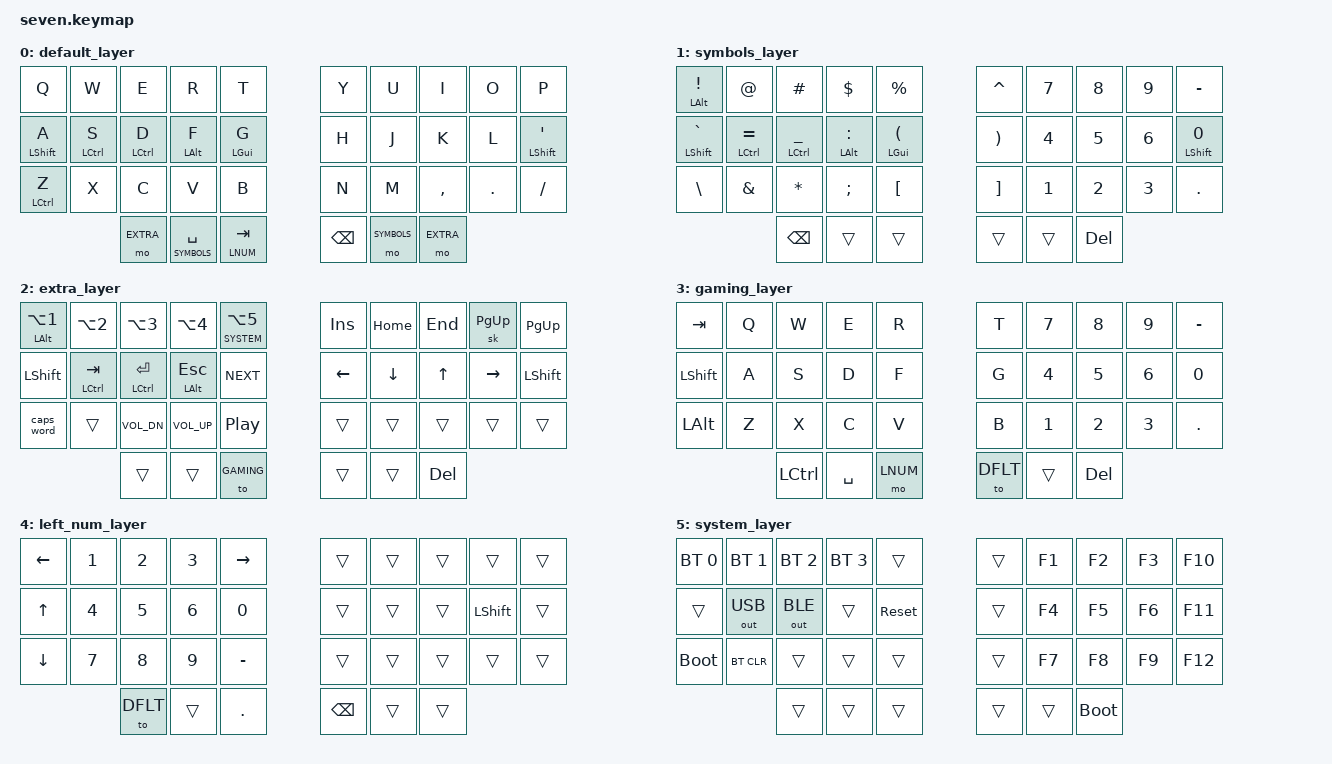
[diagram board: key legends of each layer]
/*
 * Copyright (c) 2020 The ZMK Contributors
 *
 * SPDX-License-Identifier: MIT
 */

#include <behaviors.dtsi>
#include <dt-bindings/zmk/bt.h>
#include <dt-bindings/zmk/keys.h>
#include <dt-bindings/zmk/outputs.h>


#define DFLT      0
#define SYMBOLS   1
#define EXTRA     2
#define GAMING    3
#define LNUM      4
#define SYSTEM    5


/ {
    behaviors {
        hpl: hold_preferred_layer {
            compatible = "zmk,behavior-hold-tap";
            label = "HOLD_PREFERRED_LAYER";
            #binding-cells = <2>;
            tapping-term-ms = <160>;
            flavor = "hold-preferred";
            bindings = <&mo>, <&kp>;
        };
        bpl: balanced_layer {
            compatible = "zmk,behavior-hold-tap";
            label = "BALANCED_LAYER";
            #binding-cells = <2>;
            tapping-term-ms = <130>;
            flavor = "balanced";
            bindings = <&mo>, <&kp>;
        };
        tpl: tap_preferred_layer {
            compatible = "zmk,behavior-hold-tap";
            label = "TAP_REFERRED_LAYER";
            #binding-cells = <2>;
            tapping-term-ms = <125>;
            flavor = "tap-preferred";
            bindings = <&mo>, <&kp>;
        };
        hpm: hold_preferred_modifier {
            compatible = "zmk,behavior-hold-tap";
            label = "HOLD_PREFERRED_MODIFIER";
            #binding-cells = <2>;
            tapping-term-ms = <160>;
            flavor = "hold-preferred";
            bindings = <&kp>, <&kp>;
        };
        bpm: balanced_modifier {
            compatible = "zmk,behavior-hold-tap";
            label = "BALANCED_MODIFIER";
            #binding-cells = <2>;
            tapping-term-ms = <125>;
            flavor = "balanced";
            bindings = <&kp>, <&kp>;
        };
        tpm: tap_preferred_modifier {
            compatible = "zmk,behavior-hold-tap";
            label = "TAP_REFERRED_MODIFIER";
            #binding-cells = <2>;
            tapping-term-ms = <125>;
            flavor = "tap-preferred";
            bindings = <&kp>, <&kp>;
        };
    };

    combos {
        compatible = "zmk,combos";
        combo_print_screen_r_t {
            timeout-ms = <50>;
            key-positions = <3 4>;
            bindings = <&kp LC(LS(S))>;
            layers = <EXTRA>;
        };
    };

    keymap {
        compatible = "zmk,keymap";

        default_layer {
            bindings = <
                &kp Q             &kp W           &kp E            &kp R           &kp T               &kp Y         &kp U        &kp I            &kp O         &kp P
                &bpm LSHIFT A     &tpm LCTRL S    &tpm LCTRL D     &tpm LALT F     &tpm LGUI G         &kp H         &kp J        &kp K            &kp L         &bpm LSHIFT SQT
                &tpm LCTRL Z      &kp X           &kp C            &kp V           &kp B               &kp N         &kp M        &kp COMMA        &kp DOT       &kp SLASH
                                                  &mo EXTRA        &bpl SYMBOLS SPACE &tpl LNUM TAB    &kp BACKSPACE &mo SYMBOLS  &mo EXTRA
            >;
        };

        symbols_layer {
            bindings = <
                &tpm LALT EXCL    &kp AT          &kp HASH         &kp DOLLAR       &kp PERCENT        &kp CARET     &kp N7       &kp N8           &kp N9        &kp MINUS
                &tpm LSHIFT GRAVE &tpm LCTRL EQUAL &tpm LCTRL UNDER &tpm LALT COLON &tpm LGUI LPAR     &kp RPAR      &kp N4       &kp N5           &kp N6        &tpm LSHIFT N0
                &kp BACKSLASH     &kp AMPS        &kp STAR         &kp SEMI         &kp LBKT           &kp RBKT      &kp N1       &kp N2           &kp N3        &kp DOT
                                                  &kp BACKSPACE    &trans           &trans             &trans        &trans       &kp DEL
            >;
        };
 
        extra_layer {
            bindings = <
                &tpm LALT LA(N1)  &kp LA(N2)      &kp LA(N3)       &kp LA(N4)       &tpl SYSTEM LA(N5) &kp INSERT    &kp HOME     &kp END          &sk PAGE_UP   &kp PAGE_UP
                &kp LSHIFT        &tpm LCTRL TAB  &tpm LCTRL ENTER &tpm LALT ESCAPE &kp C_NEXT         &kp LEFT      &kp DOWN     &kp UP           &kp RIGHT     &kp LSHIFT
                &caps_word        &trans          &kp C_VOL_DN     &kp C_VOL_UP     &kp C_PP           &trans        &trans       &trans           &trans        &trans
                                                  &trans           &trans           &to GAMING         &trans        &trans       &kp DEL
            >;
        };

        gaming_layer {
            bindings = <
                &kp TAB           &kp Q           &kp W            &kp E            &kp R              &kp T         &kp N7       &kp N8           &kp N9        &kp MINUS
                &kp LSHIFT        &kp A           &kp S            &kp D            &kp F              &kp G         &kp N4       &kp N5           &kp N6        &kp N0
                &kp LALT          &kp Z           &kp X            &kp C            &kp V              &kp B         &kp N1       &kp N2           &kp N3        &kp DOT
                                                  &kp LCTRL        &kp SPACE        &mo LNUM           &to DFLT      &trans       &kp DEL
            >;
        };

        left_num_layer {
            bindings = <
                &kp LEFT          &kp N1           &kp N2          &kp N3           &kp RIGHT         &trans         &trans       &trans          &trans         &trans
                &kp UP            &kp N4           &kp N5          &kp N6           &kp N0            &trans         &trans       &trans          &kp LSHIFT     &trans
                &kp DOWN          &kp N7           &kp N8          &kp N9           &kp MINUS         &trans         &trans       &trans          &trans         &trans
                                                   &to DFLT        &trans           &kp DOT           &kp BACKSPACE  &trans       &trans
            >;
        };

        system_layer {
            bindings = <
                &bt BT_SEL 0      &bt BT_SEL 1    &bt BT_SEL 2     &bt BT_SEL 3     &trans             &trans        &kp F1       &kp F2          &kp F3         &kp F10
                &trans            &out OUT_USB    &out OUT_BLE     &trans           &sys_reset         &trans        &kp F4       &kp F5          &kp F6         &kp F11
                &bootloader       &bt BT_CLR      &trans           &trans           &trans             &trans        &kp F7       &kp F8          &kp F9         &kp F12
                                                  &trans           &trans           &trans             &trans        &trans       &bootloader

            >;
        };
    };
};
